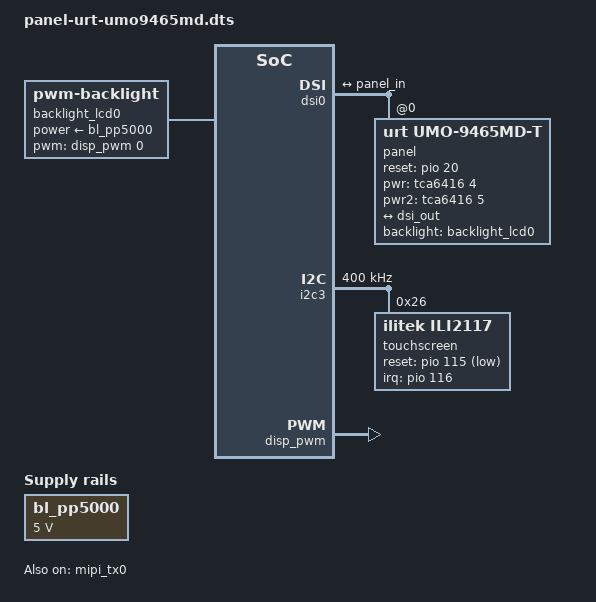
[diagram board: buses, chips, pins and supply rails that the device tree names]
/dts-v1/;
/plugin/;

#include <dt-bindings/pinctrl/mt8365-pinfunc.h>
#include "dt-bindings/interrupt-controller/irq.h"
#include <dt-bindings/gpio/gpio.h>

/ {
	fragment@0 {
		target = <&dsi0>;
		__overlay__ {
			status = "okay";
			#address-cells = <1>;
			#size-cells = <0>;

			panel: panel@0 {
				compatible = "urt,umo-9465md-t";
				reg = <0>;
				pinctrl-names = "default";
				pinctrl-0 = <&panel_pins_default>;
				backlight = <&backlight_lcd0>;
				reset-gpios = <&pio 20 0>;
				pwr-gpios = <&tca6416 4 0>;
				pwr2-gpios = <&tca6416 5 0>;
				status = "okay";

				port {
					panel_in: endpoint {
						remote-endpoint = <&dsi_out>;
					};
				};
			};

			ports {
				port {
					dsi_out: endpoint {
						remote-endpoint = <&panel_in>;
					};
				};
			};
		};
	};

	fragment@1 {
		target = <&mipi_tx0>;
		__overlay__ {
			status = "okay";
		};
	};

	fragment@2 {
		target-path = "/";
		__overlay__ {
			backlight_lcd0: backlight_lcd0 {
				compatible = "pwm-backlight";
				pwms = <&disp_pwm 0 20000>;
				power-supply = <&bl_pp5000>;
				brightness-levels = <0 1023>;
				num-interpolated-steps = <1023>;
				default-brightness-level = <576>;
				status = "okay";
			};

			bl_pp5000: regulator@1 {
				compatible = "regulator-fixed";
				regulator-name = "bl_pp5000";
				regulator-min-microvolt = <5000000>;
				regulator-max-microvolt = <5000000>;
				regulator-always-on;
				regulator-boot-on;
			};
		};
	};

	fragment@3 {
		target = <&i2c3>;
		__overlay__ {
			#address-cells = <1>;
			#size-cells = <0>;
			clock-frequency = <400000>;

			touchscreen@26 {
				compatible = "ilitek,ili2117";
				reg = <0x26>;
				pinctrl-names = "default";
				pinctrl-0 = <&ctp_pins_default>;
				wakeup-source;
				interrupt-parent = <&pio>;
				interrupts = <116 IRQ_TYPE_EDGE_FALLING>;
				reset-gpios = <&pio 115 GPIO_ACTIVE_LOW>;
			};
		};
	};

	fragment@4 {
		target = <&disp_pwm>;
		__overlay__ {
			status = "okay";
			pinctrl-names = "default";
			pinctrl-0 = <&pwm0_pin_default>;
		};
	};

	fragment@5 {
		target = <&pio>;
		__overlay__ {
			panel_pins_default: panel_pins_default {
				panel_reset {
					pinmux = <MT8365_PIN_20_LCM_RST__FUNC_GPIO20>;
					output-low;
					bias-pull-up;
				};
			};

			ctp_pins_default: ctp_pins_default {
				pins_eint_ctp {
					pinmux = <MT8365_PIN_116_I2S_BCK__FUNC_GPIO116>;
					input-enable;
					bias-disable;
				};

				pins_rst_ctp {
					pinmux = <MT8365_PIN_115_I2S_LRCK__FUNC_GPIO115>;
					output-low;
				};
			};

			pwm0_pin_default: pwm0_pin_default {
				disp_pwm {
					pinmux = <MT8365_PIN_19_DISP_PWM__FUNC_DISP_PWM>;
				};
			};
		};
	};
};

